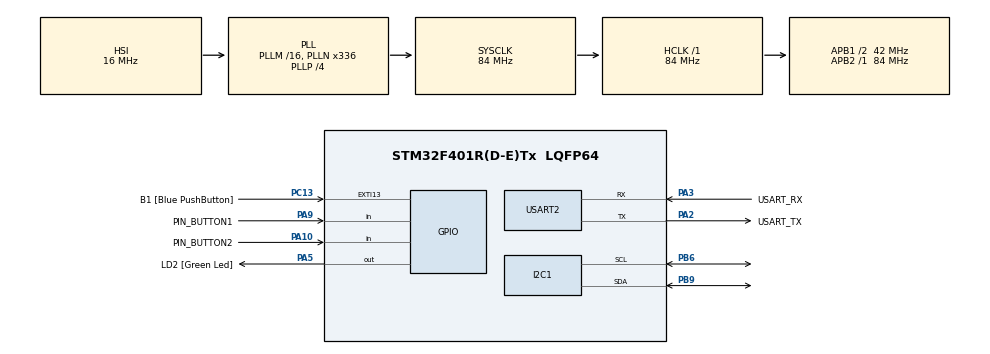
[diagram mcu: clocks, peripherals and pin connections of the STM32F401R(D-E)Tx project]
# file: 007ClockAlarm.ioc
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I2C1.I2C_Mode=I2C_Fast
Mcu.Family=STM32F4
Mcu.Name=STM32F401R(D-E)Tx
Mcu.Package=LQFP64
NVIC.PriorityGroup=NVIC_PRIORITYGROUP_4
NVIC.TIM1_UP_TIM10_IRQn=true\:0\:0\:false\:false\:true\:true\:true\:true
PA10.GPIO_Label=PIN_BUTTON2
PA10.GPIO_PuPd=GPIO_PULLUP
PA10.Signal=GPIO_Input
PA13.GPIO_Label=TMS
PA13.Mode=Trace_Asynchronous_SW
PA13.Signal=SYS_JTMS-SWDIO
PA14.GPIO_Label=TCK
PA14.Mode=Trace_Asynchronous_SW
PA14.Signal=SYS_JTCK-SWCLK
PA2.GPIO_Label=USART_TX
PA2.GPIO_Mode=GPIO_MODE_AF_PP
PA2.GPIO_PuPd=GPIO_NOPULL
PA2.GPIO_Speed=GPIO_SPEED_FREQ_LOW
PA2.Mode=Asynchronous
PA2.Signal=USART2_TX
PA3.GPIO_Label=USART_RX
PA3.GPIO_Mode=GPIO_MODE_AF_PP
PA3.GPIO_PuPd=GPIO_NOPULL
PA3.GPIO_Speed=GPIO_SPEED_FREQ_LOW
PA3.Mode=Asynchronous
PA3.Signal=USART2_RX
PA5.GPIO_Label=LD2 [Green Led]
PA5.GPIO_Mode=GPIO_MODE_OUTPUT_PP
PA5.GPIO_PuPd=GPIO_NOPULL
PA5.GPIO_Speed=GPIO_SPEED_FREQ_LOW
PA5.Signal=GPIO_Output
PA9.GPIO_Label=PIN_BUTTON1
PA9.GPIO_PuPd=GPIO_PULLUP
PA9.Signal=GPIO_Input
PB3.GPIO_Label=SWO
PB3.Mode=Trace_Asynchronous_SW
PB3.Signal=SYS_JTDO-SWO
PB6.Mode=I2C
PB6.Signal=I2C1_SCL
PB9.Mode=I2C
PB9.Signal=I2C1_SDA
PC13-ANTI_TAMP.GPIO_Label=B1 [Blue PushButton]
PC13-ANTI_TAMP.GPIO_ModeDefaultEXTI=GPIO_MODE_IT_FALLING
PC13-ANTI_TAMP.GPIO_PuPd=GPIO_NOPULL
PC13-ANTI_TAMP.Signal=GPXTI13
PC14-OSC32_IN.Mode=LSE-External-Oscillator
PC14-OSC32_IN.Signal=RCC_OSC32_IN
PC15-OSC32_OUT.Mode=LSE-External-Oscillator
PC15-OSC32_OUT.Signal=RCC_OSC32_OUT
PH0\ -\ OSC_IN.Mode=HSE-External-Clock-Source
PH0\ -\ OSC_IN.Signal=RCC_OSC_IN
PH1\ -\ OSC_OUT.Mode=HSE-External-Clock-Source
PH1\ -\ OSC_OUT.Signal=RCC_OSC_OUT
ProjectManager.HeapSize=0x200
ProjectManager.StackSize=0x400
ProjectManager.TargetToolchain=EWARM V8.50
RCC.48MHZClocksFreq_Value=48000000
RCC.AHBFreq_Value=84000000
RCC.APB1CLKDivider=RCC_HCLK_DIV2
RCC.APB1Freq_Value=42000000
RCC.APB1TimFreq_Value=84000000
RCC.APB2Freq_Value=84000000
RCC.APB2TimFreq_Value=84000000
RCC.CortexFreq_Value=84000000
RCC.HCLKFreq_Value=84000000
RCC.HSE_VALUE=8000000
RCC.HSI_VALUE=16000000
RCC.PLLN=336
RCC.PLLP=RCC_PLLP_DIV4
RCC.PLLQ=7
RCC.SYSCLKFreq_VALUE=84000000
RCC.SYSCLKSource=RCC_SYSCLKSOURCE_PLLCLK
RCC.VCOOutputFreq_Value=336000000
TIM1.Period=1000-1
TIM1.Prescaler=8400-1
USART2.VirtualMode=VM_ASYNC
VP_TIM1_VS_ClockSourceINT.Mode=Internal
board=NUCLEO-F401RE

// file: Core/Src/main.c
/* USER CODE BEGIN Header */
/**
  ******************************************************************************
  * @file           : main.c
  * @brief          : Main program body
  ******************************************************************************
  * @attention
  *
  * Copyright (c) 2026 STMicroelectronics.
  * All rights reserved.
  *
  * This software is licensed under terms that can be found in the LICENSE file
  * in the root directory of this software component.
  * If no LICENSE file comes with this software, it is provided AS-IS.
  *
  ******************************************************************************
  */
/* USER CODE END Header */
#include "main.h"
#include "i2c.h"
#include "tim.h"
#include "usart.h"
#include "gpio.h"

/* USER CODE BEGIN Includes */
#include "qpc.h"
#include "ClockAlarm_SM.h"
#include "LCD_I2C_lib.h"
/* USER CODE END Includes */

/* USER CODE BEGIN PD */
#define BTN_PAD_VALUE_SET       2
#define BTN_PAD_VALUE_OK        1
#define BTN_PAD_VALUE_ABRT      3
/* USER CODE END PD */

/* USER CODE BEGIN PV */
CLCD_I2C_Name LCD1;

typedef enum{
    NOT_PRESSED,
    BOUNCE,
    PRESSED
}button_state_t;
/* USER CODE END PV */

void SystemClock_Config(void);

/* USER CODE BEGIN 0 */
void Q_onError(char const * const module, int_t const id) {
    (void)module;
    (void)id;
    __disable_irq();
    while (1) {
    }
}

static uint8_t process_button_pad_value(uint8_t btn_pad_value)
{
  static button_state_t btn_sm_state = NOT_PRESSED;
  static uint32_t curr_time = 0;

  switch(btn_sm_state){
    case NOT_PRESSED:{
      if(btn_pad_value){
        btn_sm_state = BOUNCE;
        curr_time = HAL_GetTick();
      }
      break;
    }
    case BOUNCE:{
      if(HAL_GetTick() - curr_time >= 50 ){
        //50ms has passed
        if(btn_pad_value){
          btn_sm_state = PRESSED;
          return btn_pad_value;
        }
        else
          btn_sm_state = NOT_PRESSED;
      }
      break;
    }
    case PRESSED:{
      if(!btn_pad_value){
        btn_sm_state = BOUNCE;
        curr_time = HAL_GetTick();
      }
      break;
    }

  }

  return 0;
}

    static uint32_t tick_time = 0;
    static uint32_t alarm_check_time = 0;
    uint8_t b1,b2,btn_pad_value;
    QEvt ee;

    volatile uint32_t dwt_cycles = 0;
volatile uint32_t dwt_time_us = 0;
volatile uint32_t dwt_max_us = 0;

static void DWT_Init(void)
{
    CoreDebug->DEMCR |= CoreDebug_DEMCR_TRCENA_Msk;

    DWT->CYCCNT = 0U;

    DWT->CTRL |= DWT_CTRL_CYCCNTENA_Msk;
}
/* USER CODE END 0 */

int main(void)
{

  /* MCU Configuration--------------------------------------------------------*/

  /* Reset of all peripherals, Initializes the Flash interface and the Systick. */
  HAL_Init();

  /* Configure the system clock */
  SystemClock_Config();

  /* Initialize all configured peripherals */
  MX_GPIO_Init();
  MX_USART2_UART_Init();
  MX_TIM1_Init();
  MX_I2C1_Init();
  /* USER CODE BEGIN 2 */
  DWT_Init();
  CLCD_I2C_Init(&LCD1,&hi2c1,0x4e,20,4);
  CLCD_I2C_Clear(&LCD1);
  Clock_Alarm_ctor();
  QHSM_INIT(super_ClockAlarm, (void *)0, 0U);
  /* USER CODE END 2 */

  /* Infinite loop */
  while (1)
  {

    /* USER CODE BEGIN 3 */
    //1. read the button pad status
    b1 = (HAL_GPIO_ReadPin(PIN_BUTTON1_GPIO_Port, PIN_BUTTON1_Pin) == GPIO_PIN_RESET) ? 1U : 0U;
    b2 = (HAL_GPIO_ReadPin(PIN_BUTTON2_GPIO_Port, PIN_BUTTON2_Pin) == GPIO_PIN_RESET) ? 1U : 0U;

    btn_pad_value = (b1<<1u)|b2;

    //software button de-bouncing
    btn_pad_value = process_button_pad_value(btn_pad_value);

    while(HAL_GetTick() - alarm_check_time >= 500 ){
    // send TICK event
    alarm_check_time = HAL_GetTick();
    ee.sig = ALARM_SIG;
    QHSM_DISPATCH(super_ClockAlarm, &ee, 0U);
    }

    if(btn_pad_value){
      if(btn_pad_value == BTN_PAD_VALUE_SET){
        ee.sig  = SET_SIG;
      }else if(btn_pad_value == BTN_PAD_VALUE_OK){
        ee.sig  = OK_SIG;
      }else if(btn_pad_value == BTN_PAD_VALUE_ABRT){
        ee.sig  = ABRT_SIG;
      }else
      ee.sig = IGNORE_SIG;

    QHSM_DISPATCH(super_ClockAlarm, &ee, 0U);
    }

    while(HAL_GetTick() - tick_time >= 50){
    // send TICK event
    tick_time = HAL_GetTick();
    ee.sig = TICK_SIG;
    uint32_t start_cycle = DWT->CYCCNT;
    QHSM_DISPATCH(super_ClockAlarm, &ee, 0U);
    dwt_cycles = DWT->CYCCNT - start_cycle;
    dwt_time_us = dwt_cycles / (SystemCoreClock / 1000000U);
      if (dwt_time_us > dwt_max_us) {
          dwt_max_us = dwt_time_us;
      }
    }
  }
  /* USER CODE END 3 */
}

void SystemClock_Config(void)
{
  RCC_OscInitTypeDef RCC_OscInitStruct = {0};
  RCC_ClkInitTypeDef RCC_ClkInitStruct = {0};

  /** Configure the main internal regulator output voltage
  */
  __HAL_RCC_PWR_CLK_ENABLE();
  __HAL_PWR_VOLTAGESCALING_CONFIG(PWR_REGULATOR_VOLTAGE_SCALE2);

  /** Initializes the RCC Oscillators according to the specified parameters
  * in the RCC_OscInitTypeDef structure.
  */
  RCC_OscInitStruct.OscillatorType = RCC_OSCILLATORTYPE_HSI;
  RCC_OscInitStruct.HSIState = RCC_HSI_ON;
  RCC_OscInitStruct.HSICalibrationValue = RCC_HSICALIBRATION_DEFAULT;
  RCC_OscInitStruct.PLL.PLLState = RCC_PLL_ON;
  RCC_OscInitStruct.PLL.PLLSource = RCC_PLLSOURCE_HSI;
  RCC_OscInitStruct.PLL.PLLM = 16;
  RCC_OscInitStruct.PLL.PLLN = 336;
  RCC_OscInitStruct.PLL.PLLP = RCC_PLLP_DIV4;
  RCC_OscInitStruct.PLL.PLLQ = 7;
  if (HAL_RCC_OscConfig(&RCC_OscInitStruct) != HAL_OK)
  {
    Error_Handler();
  }

  /** Initializes the CPU, AHB and APB buses clocks
  */
  RCC_ClkInitStruct.ClockType = RCC_CLOCKTYPE_HCLK|RCC_CLOCKTYPE_SYSCLK
                              |RCC_CLOCKTYPE_PCLK1|RCC_CLOCKTYPE_PCLK2;
  RCC_ClkInitStruct.SYSCLKSource = RCC_SYSCLKSOURCE_PLLCLK;
  RCC_ClkInitStruct.AHBCLKDivider = RCC_SYSCLK_DIV1;
  RCC_ClkInitStruct.APB1CLKDivider = RCC_HCLK_DIV2;
  RCC_ClkInitStruct.APB2CLKDivider = RCC_HCLK_DIV1;

  if (HAL_RCC_ClockConfig(&RCC_ClkInitStruct, FLASH_LATENCY_2) != HAL_OK)
  {
    Error_Handler();
  }
}

void Error_Handler(void)
{
  __disable_irq();
  while (1)
  {
  }
}
